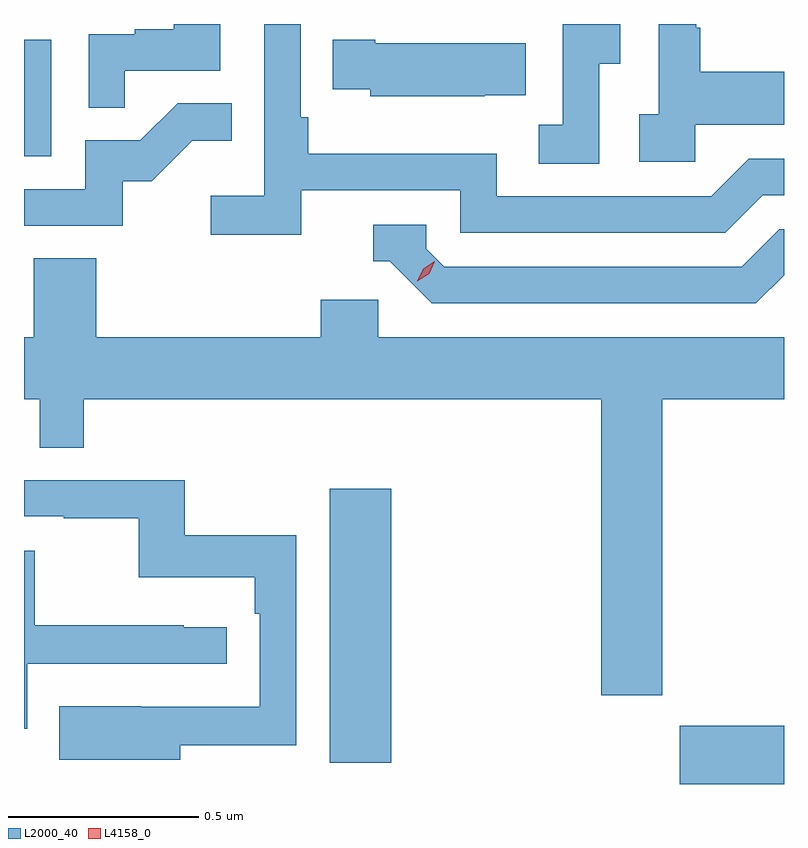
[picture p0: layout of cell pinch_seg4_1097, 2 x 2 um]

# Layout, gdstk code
import gdstk
lib = gdstk.Library(unit=1e-6, precision=1e-09)
def R(c, l, rs):  # rectangles x0, y0, x1, y1
    for r in rs: c.add(gdstk.rectangle(r[:2], r[2:], *l))
def P(c, l, *ps):  # polygons
    for p in ps: c.add(gdstk.Polygon(p, *l))
L2000_40 = (2000, 40)
L4158_0 = (4158, 0)

pinch_seg4_1097 = lib.new_cell('pinch_seg4_1097')
R(pinch_seg4_1097, L2000_40, [(870.212,755.848,870.486,756.001), (869.291,755.904,869.452,756.625), (868.486,757.5,868.558,757.807)])
P(pinch_seg4_1097, L2000_40, [(870.252,757.583),(870.486,757.583),(870.486,757.723),(870.265,757.723),(870.265,757.838),(870.255,757.838),(870.255,757.848),(870.156,757.848),(870.156,757.61),(870.105,757.61),(870.105,757.485),(870.252,757.485)],
  [(869.216,757.41),(869.634,757.41),(869.634,757.299),(870.331,757.299),(870.43,757.398),(870.486,757.398),(870.486,757.494),(870.393,757.494),(870.294,757.395),(869.73,757.395),(869.73,757.507),(869.234,757.507),(869.234,757.603),(869.214,757.603),(869.214,757.848),(869.118,757.848),(869.118,757.396),(868.977,757.396),(868.977,757.294),(869.216,757.294)],
  [(868.751,757.725),(869.002,757.725),(869.002,757.848),(868.88,757.848),(868.88,757.834),(868.777,757.834),(868.777,757.821),(868.656,757.821),(868.656,757.627),(868.751,757.627)],
  [(870,757.744),(870.055,757.744),(870.055,757.848),(869.904,757.848),(869.904,757.583),(869.841,757.583),(869.841,757.48),(870,757.48)],
  [(869.699,757.661),(869.807,757.661),(869.807,757.798),(869.41,757.798),(869.41,757.806),(869.299,757.806),(869.299,757.676),(869.397,757.676),(869.397,757.658),(869.699,757.658)],
  [(868.746,757.434),(868.822,757.434),(868.929,757.541),(869.033,757.541),(869.033,757.64),(868.89,757.64),(868.792,757.542),(868.647,757.542),(868.647,757.413),(868.486,757.413),(868.486,757.317),(868.746,757.317)],
  [(870.486,757.187),(870.486,757.308),(870.474,757.308),(870.375,757.209),(869.592,757.209),(869.544,757.257),(869.544,757.32),(869.405,757.32),(869.405,757.224),(869.448,757.224),(869.559,757.113),(870.412,757.113)],
  [(870.165,756.86),(870.486,756.86),(870.486,757.024),(869.418,757.024),(869.418,757.122),(869.267,757.122),(869.267,757.024),(868.676,757.024),(868.676,757.232),(868.511,757.232),(868.511,757.024),(868.486,757.024),(868.486,756.86),(868.527,756.86),(868.527,756.733),(868.643,756.733),(868.643,756.86),(870.005,756.86),(870.005,756.081),(870.165,756.081)],
  [(868.897,755.95),(869.202,755.95),(869.202,756.502),(868.909,756.502),(868.909,756.648),(868.486,756.648),(868.486,756.552),(868.591,756.552),(868.591,756.547),(868.788,756.547),(868.788,756.392),(869.093,756.392),(869.093,756.296),(869.106,756.296),(869.106,756.051),(868.793,756.051),(868.793,756.052),(868.579,756.052),(868.579,755.912),(868.897,755.912)],
  [(868.494,756.165),(869.02,756.165),(869.02,756.261),(868.907,756.261),(868.907,756.266),(868.514,756.266),(868.514,756.462),(868.486,756.462),(868.486,755.993),(868.494,755.993)])
P(pinch_seg4_1097, L4158_0, [(869.521,757.171),(869.521,757.171),(869.537,757.204),(869.567,757.224),(869.567,757.224),(869.567,757.224),(869.552,757.191),(869.521,757.171)])

lib.write_gds('pinch_seg4_1097.gds')
